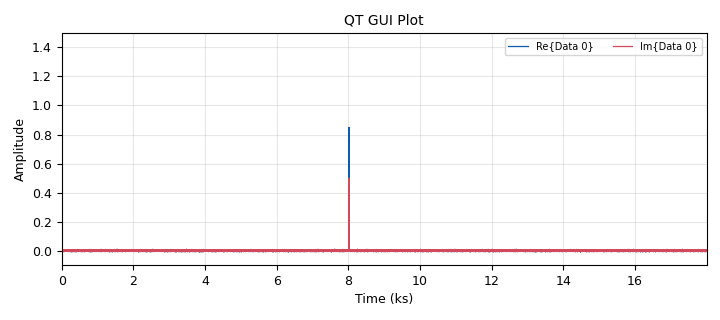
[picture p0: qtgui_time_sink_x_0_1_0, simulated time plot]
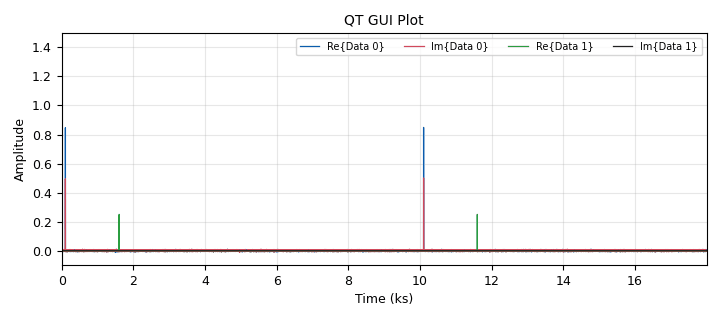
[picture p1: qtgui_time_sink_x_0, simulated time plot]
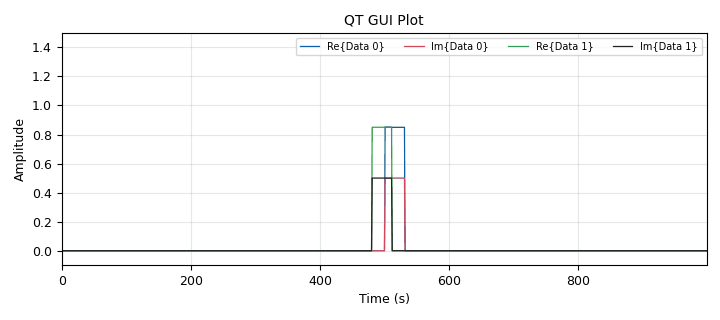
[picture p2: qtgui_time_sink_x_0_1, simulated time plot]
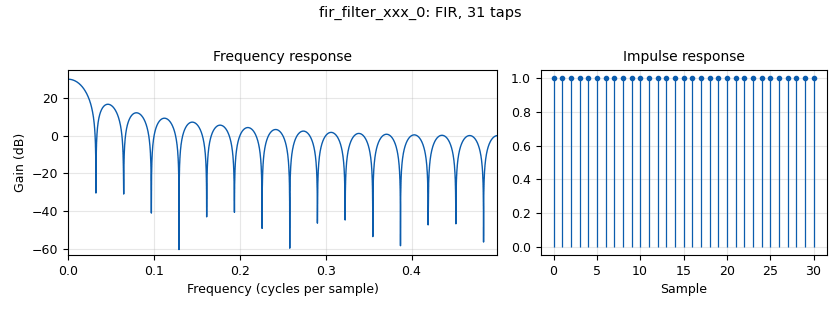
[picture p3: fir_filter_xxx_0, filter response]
<?xml version='1.0' encoding='utf-8'?>
<flow_graph>
<block>
<key>options</key>
<param><key>id</key><value>qtgui_tags_viewing</value></param>
<param><key>generate_options</key><value>qt_gui</value></param>
<param><key>category</key><value>Custom</value></param>
<param><key>run_options</key><value>run</value></param>
</block>
<block>
<key>variable</key>
<param><key>id</key><value>samp_rate</value></param>
<param><key>value</key><value>32000</value></param>
</block>
<block>
<key>import</key>
<param><key>id</key><value>import_1</value></param>
<param><key>import</key><value>from gnuradio.digital.utils import tagged_streams</value></param>
</block>
<block>
<key>blocks_throttle</key>
<param><key>id</key><value>blocks_throttle_0</value></param>
<param><key>type</key><value>complex</value></param>
<param><key>samples_per_second</key><value>samp_rate</value></param>
</block>
<block>
<key>blocks_throttle</key>
<param><key>id</key><value>blocks_throttle_0_0</value></param>
<param><key>_enabled</key><value>False</value></param>
<param><key>type</key><value>float</value></param>
<param><key>samples_per_second</key><value>samp_rate</value></param>
</block>
<block>
<key>blocks_vector_source_x</key>
<param><key>id</key><value>blocks_vector_source_x_0_1</value></param>
<param><key>_enabled</key><value>False</value></param>
<param><key>type</key><value>float</value></param>
<param><key>vector</key><value>[-0.85,] + (10000-1)*[0,]</value></param>
<param><key>tags</key><value>tagged_streams.make_lengthtags((1024,), (0,), "testing tags")</value></param>
<param><key>repeat</key><value>True</value></param>
</block>
<block>
<key>blocks_vector_source_x</key>
<param><key>id</key><value>blocks_vector_source_x_0_0_0</value></param>
<param><key>_enabled</key><value>False</value></param>
<param><key>type</key><value>float</value></param>
<param><key>vector</key><value>1000*[0,] + [0.5,] + (10000-1000-1)*[0,]</value></param>
<param><key>tags</key><value>tagged_streams.make_lengthtags((128,), (1000,), "second stream")</value></param>
<param><key>repeat</key><value>True</value></param>
</block>
<block>
<key>qtgui_time_sink_x</key>
<param><key>id</key><value>qtgui_time_sink_x_0_0</value></param>
<param><key>_enabled</key><value>False</value></param>
<param><key>type</key><value>float</value></param>
<param><key>name</key><value>QT GUI Plot</value></param>
<param><key>size</key><value>18000</value></param>
<param><key>srate</key><value>samp_rate</value></param>
<param><key>nconnections</key><value>2</value></param>
</block>
<block>
<key>import</key>
<param><key>id</key><value>import_0</value></param>
<param><key>import</key><value>import scipy</value></param>
</block>
<block>
<key>import</key>
<param><key>id</key><value>import_2</value></param>
<param><key>import</key><value>import time</value></param>
</block>
<block>
<key>blocks_vector_source_x</key>
<param><key>id</key><value>blocks_vector_source_x_0</value></param>
<param><key>type</key><value>complex</value></param>
<param><key>vector</key><value>[0.85+0.5j,] + (10000-1)*[0,]</value></param>
<param><key>tags</key><value>tagged_streams.make_lengthtags((1024,), (0,), "testing tags 0")</value></param>
<param><key>repeat</key><value>True</value></param>
</block>
<block>
<key>blocks_tags_strobe</key>
<param><key>id</key><value>blocks_tags_strobe_0</value></param>
<param><key>type</key><value>complex</value></param>
<param><key>value</key><value>pmt.intern("TEST")</value></param>
<param><key>nsamps</key><value>10000</value></param>
</block>
<block>
<key>blocks_vector_source_x</key>
<param><key>id</key><value>blocks_vector_source_x_0_0</value></param>
<param><key>type</key><value>complex</value></param>
<param><key>vector</key><value>1500*[0,] + [0.25+0j,] + (10000-1500-1)*[0,]</value></param>
<param><key>tags</key><value>tagged_streams.make_lengthtags((128,), (1500,), "second stream")</value></param>
<param><key>repeat</key><value>True</value></param>
</block>
<block>
<key>blocks_add_xx</key>
<param><key>id</key><value>blocks_add_xx_1</value></param>
<param><key>type</key><value>complex</value></param>
</block>
<block>
<key>analog_fastnoise_source_x</key>
<param><key>id</key><value>analog_fastnoise_source_x_0</value></param>
<param><key>type</key><value>complex</value></param>
<param><key>noise_type</key><value>analog.GR_GAUSSIAN</value></param>
<param><key>amp</key><value>0.004</value></param>
<param><key>seed</key><value>0</value></param>
<param><key>samples</key><value>8192</value></param>
</block>
<block>
<key>qtgui_time_sink_x</key>
<param><key>id</key><value>qtgui_time_sink_x_0_1_0</value></param>
<param><key>type</key><value>complex</value></param>
<param><key>name</key><value>QT GUI Plot</value></param>
<param><key>size</key><value>18000</value></param>
<param><key>srate</key><value>1</value></param>
<param><key>ymin</key><value>-0.1</value></param>
<param><key>ymax</key><value>1.5</value></param>
<param><key>tr_mode</key><value>qtgui.TRIG_MODE_NORM</value></param>
<param><key>tr_level</key><value>.1</value></param>
<param><key>tr_delay</key><value>8015</value></param>
<param><key>gui_hint</key><value>1,1,1,1</value></param>
</block>
<block>
<key>blocks_null_source</key>
<param><key>id</key><value>blocks_null_source_0</value></param>
<param><key>_enabled</key><value>False</value></param>
<param><key>type</key><value>complex</value></param>
</block>
<block>
<key>blocks_add_xx</key>
<param><key>id</key><value>blocks_add_xx_0</value></param>
<param><key>type</key><value>complex</value></param>
</block>
<block>
<key>blocks_delay</key>
<param><key>id</key><value>blocks_delay_0</value></param>
<param><key>type</key><value>complex</value></param>
<param><key>delay</key><value>1000</value></param>
</block>
<block>
<key>qtgui_time_sink_x</key>
<param><key>id</key><value>qtgui_time_sink_x_0</value></param>
<param><key>type</key><value>complex</value></param>
<param><key>name</key><value>QT GUI Plot</value></param>
<param><key>size</key><value>18000</value></param>
<param><key>srate</key><value>1</value></param>
<param><key>ymin</key><value>-0.1</value></param>
<param><key>ymax</key><value>1.5</value></param>
<param><key>nconnections</key><value>2</value></param>
<param><key>tr_mode</key><value>qtgui.TRIG_MODE_NORM</value></param>
<param><key>tr_level</key><value>.1</value></param>
<param><key>tr_delay</key><value>100</value></param>
</block>
<block>
<key>variable_qtgui_range</key>
<param><key>id</key><value>ntaps</value></param>
<param><key>label</key><value>Num Taps</value></param>
<param><key>value</key><value>30</value></param>
<param><key>start</key><value>1</value></param>
<param><key>stop</key><value>100</value></param>
<param><key>step</key><value>1</value></param>
<param><key>orient</key><value>Qt.Horizontal</value></param>
</block>
<block>
<key>fir_filter_xxx</key>
<param><key>id</key><value>fir_filter_xxx_0</value></param>
<param><key>type</key><value>ccc</value></param>
<param><key>decim</key><value>1</value></param>
<param><key>taps</key><value>int(ntaps)*[1,]+[1,]</value></param>
</block>
<block>
<key>blocks_delay</key>
<param><key>id</key><value>blocks_delay_0_0</value></param>
<param><key>type</key><value>complex</value></param>
<param><key>delay</key><value>int(delay)</value></param>
</block>
<block>
<key>qtgui_time_sink_x</key>
<param><key>id</key><value>qtgui_time_sink_x_0_1</value></param>
<param><key>type</key><value>complex</value></param>
<param><key>name</key><value>QT GUI Plot</value></param>
<param><key>size</key><value>1000</value></param>
<param><key>srate</key><value>1</value></param>
<param><key>ymin</key><value>-0.1</value></param>
<param><key>ymax</key><value>1.5</value></param>
<param><key>nconnections</key><value>2</value></param>
<param><key>tr_mode</key><value>qtgui.TRIG_MODE_NORM</value></param>
<param><key>tr_level</key><value>.1</value></param>
<param><key>tr_delay</key><value>500</value></param>
<param><key>gui_hint</key><value>1,0,1,1</value></param>
</block>
<block>
<key>variable_qtgui_range</key>
<param><key>id</key><value>delay</value></param>
<param><key>label</key><value>Delay</value></param>
<param><key>value</key><value>20</value></param>
<param><key>start</key><value>0</value></param>
<param><key>stop</key><value>200</value></param>
<param><key>step</key><value>1</value></param>
<param><key>orient</key><value>Qt.Horizontal</value></param>
</block>
<connection><source_block_id>blocks_vector_source_x_0</source_block_id><sink_block_id>blocks_throttle_0</sink_block_id><source_key>0</source_key><sink_key>0</sink_key></connection>
<connection><source_block_id>blocks_throttle_0</source_block_id><sink_block_id>blocks_add_xx_0</sink_block_id><source_key>0</source_key><sink_key>0</sink_key></connection>
<connection><source_block_id>blocks_delay_0</source_block_id><sink_block_id>blocks_add_xx_0</sink_block_id><source_key>0</source_key><sink_key>1</sink_key></connection>
<connection><source_block_id>blocks_tags_strobe_0</source_block_id><sink_block_id>blocks_delay_0</sink_block_id><source_key>0</source_key><sink_key>0</sink_key></connection>
<connection><source_block_id>blocks_throttle_0_0</source_block_id><sink_block_id>qtgui_time_sink_x_0_0</sink_block_id><source_key>0</source_key><sink_key>0</sink_key></connection>
<connection><source_block_id>blocks_vector_source_x_0_1</source_block_id><sink_block_id>blocks_throttle_0_0</sink_block_id><source_key>0</source_key><sink_key>0</sink_key></connection>
<connection><source_block_id>blocks_vector_source_x_0_0_0</source_block_id><sink_block_id>qtgui_time_sink_x_0_0</sink_block_id><source_key>0</source_key><sink_key>1</sink_key></connection>
<connection><source_block_id>analog_fastnoise_source_x_0</source_block_id><sink_block_id>blocks_add_xx_1</sink_block_id><source_key>0</source_key><sink_key>0</sink_key></connection>
<connection><source_block_id>blocks_add_xx_0</source_block_id><sink_block_id>blocks_add_xx_1</sink_block_id><source_key>0</source_key><sink_key>1</sink_key></connection>
<connection><source_block_id>blocks_add_xx_1</source_block_id><sink_block_id>qtgui_time_sink_x_0</sink_block_id><source_key>0</source_key><sink_key>0</sink_key></connection>
<connection><source_block_id>blocks_null_source_0</source_block_id><sink_block_id>blocks_add_xx_0</sink_block_id><source_key>0</source_key><sink_key>1</sink_key></connection>
<connection><source_block_id>blocks_vector_source_x_0_0</source_block_id><sink_block_id>qtgui_time_sink_x_0</sink_block_id><source_key>0</source_key><sink_key>1</sink_key></connection>
<connection><source_block_id>blocks_add_xx_1</source_block_id><sink_block_id>qtgui_time_sink_x_0_1_0</sink_block_id><source_key>0</source_key><sink_key>0</sink_key></connection>
<connection><source_block_id>blocks_add_xx_0</source_block_id><sink_block_id>fir_filter_xxx_0</sink_block_id><source_key>0</source_key><sink_key>0</sink_key></connection>
<connection><source_block_id>fir_filter_xxx_0</source_block_id><sink_block_id>blocks_delay_0_0</sink_block_id><source_key>0</source_key><sink_key>0</sink_key></connection>
<connection><source_block_id>blocks_delay_0_0</source_block_id><sink_block_id>qtgui_time_sink_x_0_1</sink_block_id><source_key>0</source_key><sink_key>0</sink_key></connection>
<connection><source_block_id>fir_filter_xxx_0</source_block_id><sink_block_id>qtgui_time_sink_x_0_1</sink_block_id><source_key>0</source_key><sink_key>1</sink_key></connection>
</flow_graph>
